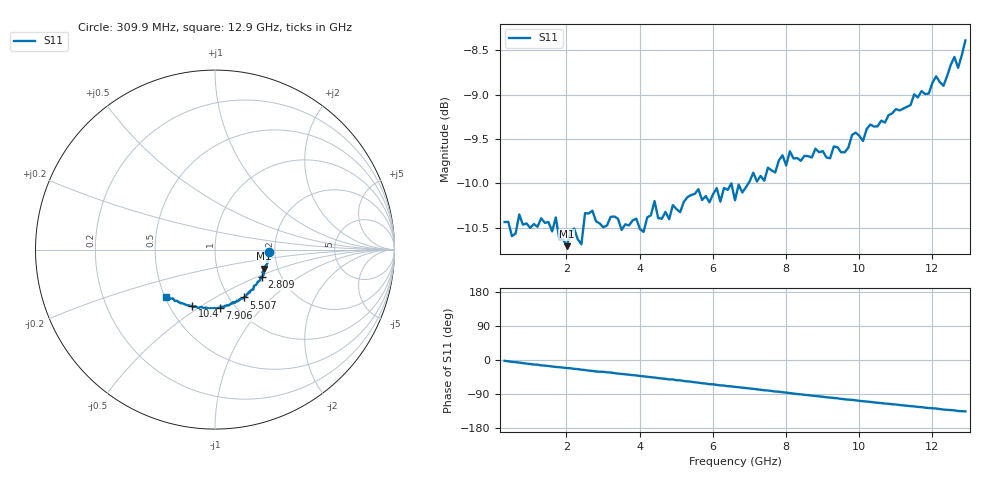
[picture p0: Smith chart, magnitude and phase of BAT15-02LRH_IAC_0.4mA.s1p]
! Infineon Technologies  Discrete & RF Semiconductors
! BAT15-02LRH
! IAC = 0.4 mA
! One-Port S-Parameters
# Hz  S  MA  R  50
!f  S11
!Hz  Mag  Ang
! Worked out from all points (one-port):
!   127 points, 309.9 MHz to 12.9 GHz, reference 50 ohm
!   lowest |S11| = -10.7 dB at 2.009 GHz (marker M1), VSWR 1.82, Z = 84.4 - j19.6 ohm
!   |S11| at or under -10 dB: start of sweep to 6.505 GHz; 6.508 GHz to 6.972 GHz (464.1 MHz wide, 6.89 % of centre)
!   S11 on the Smith chart (normalised r, x): 309.9 MHz: 1.86, -0.05; 2.809 GHz: 1.59, -0.53; 5.507 GHz: 1.17, -0.69; 7.906 GHz: 0.85, -0.62; 10.4 GHz: 0.65, -0.46; 12.9 GHz: 0.51, -0.32
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3.0985e8  0.3008 -2.2
5.0975e8  0.2953 -4.9
7.0965e8  0.3038 -6.9
1.70915e9  0.3026 -18.4
1.90905e9  0.2941 -20.1
2.009e9  0.2915 -21.3
2.2089e9  0.2982 -23.4
2.4088e9  0.2922 -25.7
2.50875e9  0.3043 -26.5
2.8086e9  0.301 -30.3
3.50825e9  0.2977 -36.8
4.10795e9  0.2969 -43.3
4.4078e9  0.3091 -46.2
4.50775e9  0.3023 -47.7
5.10745e9  0.3046 -53.5
5.50725e9  0.312 -58.8
6.2069e9  0.3089 -66.9
6.50675e9  0.3163 -69.6
6.6067e9  0.3094 -71.0
7.90605e9  0.328 -85.2
8.2059e9  0.3267 -88.4
9.2054e9  0.3267 -99.2
9.8051e9  0.3368 -105.3
1.04048e10  0.3405 -111.9
1.14043e10  0.3501 -121.8
1.210395e10  0.3634 -128.1
1.230385e10  0.359 -130.7
1.290355e10  0.3807 -135.6
